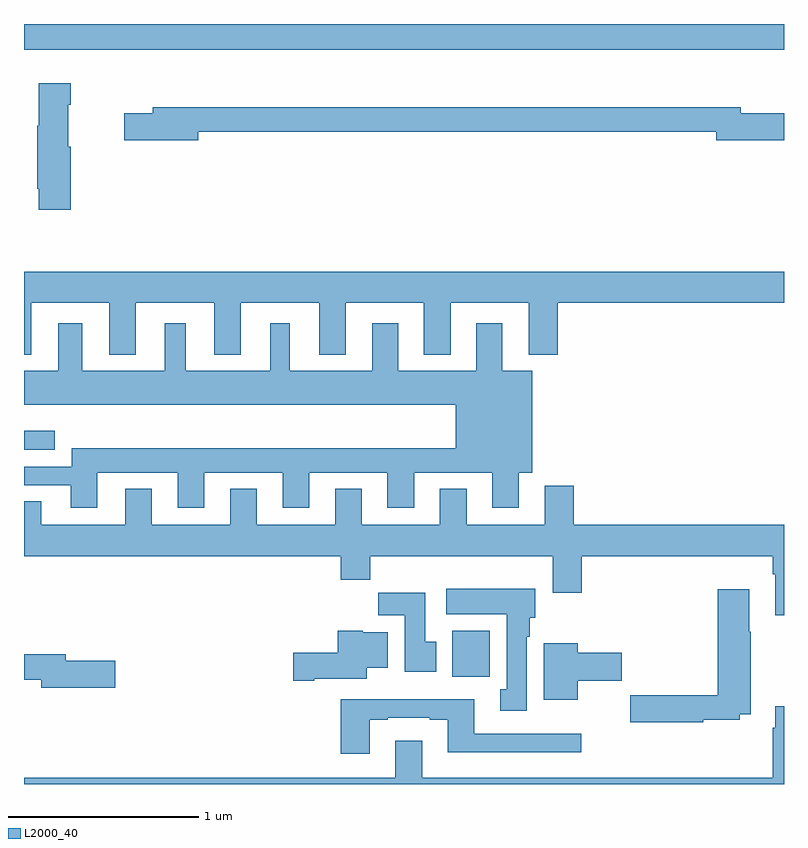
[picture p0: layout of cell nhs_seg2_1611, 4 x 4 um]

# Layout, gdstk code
import gdstk
lib = gdstk.Library(unit=1e-6, precision=1e-09)
def R(c, l, rs):  # rectangles x0, y0, x1, y1
    for r in rs: c.add(gdstk.rectangle(r[:2], r[2:], *l))
def P(c, l, *ps):  # polygons
    for p in ps: c.add(gdstk.Polygon(p, *l))
L2000_40 = (2000, 40)

nhs_seg2_1611 = lib.new_cell('nhs_seg2_1611')
R(nhs_seg2_1611, L2000_40, [(197.255,616.364,197.452,616.606), (195,617.558,195.163,617.659), (195,619.664,199,619.8)])
P(nhs_seg2_1611, L2000_40, [(195.245,619.155),(195.232,619.155),(195.232,619.376),(195.245,619.376),(195.245,619.489),(195.077,619.489),(195.077,619.265),(195.07,619.265),(195.07,618.934),(195.077,618.934),(195.077,618.822),(195.245,618.822)],
  [(195.916,619.234),(198.644,619.234),(198.644,619.187),(199,619.187),(199,619.329),(198.772,619.329),(198.772,619.363),(195.677,619.363),(195.677,619.329),(195.528,619.329),(195.528,619.187),(195.916,619.187)],
  [(195.037,618.332),(195.449,618.332),(195.449,618.059),(195.589,618.059),(195.589,618.332),(196.001,618.332),(196.001,618.059),(196.141,618.059),(196.141,618.332),(196.553,618.332),(196.553,618.059),(196.693,618.059),(196.693,618.332),(197.105,618.332),(197.105,618.059),(197.245,618.059),(197.245,618.332),(197.657,618.332),(197.657,618.059),(197.81,618.059),(197.81,618.332),(199,618.332),(199,618.496),(195,618.496),(195,618.059),(195.037,618.059)],
  [(195.385,617.438),(195.809,617.438),(195.809,617.253),(195.949,617.253),(195.949,617.438),(196.361,617.438),(196.361,617.253),(196.501,617.253),(196.501,617.438),(196.913,617.438),(196.913,617.253),(197.053,617.253),(197.053,617.438),(197.465,617.438),(197.465,617.253),(197.605,617.253),(197.605,617.438),(197.674,617.438),(197.674,617.974),(197.518,617.974),(197.518,618.226),(197.381,618.226),(197.381,617.974),(196.969,617.974),(196.969,618.226),(196.832,618.226),(196.832,617.974),(196.399,617.974),(196.399,618.226),(196.295,618.226),(196.295,617.974),(195.85,617.974),(195.85,618.226),(195.74,618.226),(195.74,617.974),(195.307,617.974),(195.307,618.226),(195.179,618.226),(195.179,617.974),(195,617.974),(195,617.795),(197.273,617.795),(197.273,617.566),(195.251,617.566),(195.251,617.469),(195,617.469),(195,617.373),(195.245,617.373),(195.245,617.253),(195.385,617.253)],
  [(199,617.164),(197.894,617.164),(197.894,617.371),(197.741,617.371),(197.741,617.164),(197.329,617.164),(197.329,617.353),(197.189,617.353),(197.189,617.164),(196.777,617.164),(196.777,617.353),(196.637,617.353),(196.637,617.164),(196.225,617.164),(196.225,617.353),(196.085,617.353),(196.085,617.164),(195.673,617.164),(195.673,617.353),(195.533,617.353),(195.533,617.164),(195.091,617.164),(195.091,617.288),(195,617.288),(195,617),(196.667,617),(196.667,616.876),(196.823,616.876),(196.823,617),(197.783,617),(197.783,616.806),(197.936,616.806),(197.936,617),(198.941,617),(198.941,616.904),(198.953,616.904),(198.953,616.689),(199,616.689)],
  [(197.647,616.574),(197.662,616.574),(197.662,616.674),(197.692,616.674),(197.692,616.828),(197.223,616.828),(197.223,616.694),(197.54,616.694),(197.54,616.298),(197.507,616.298),(197.507,616.185),(197.647,616.185)],
  [(198.576,616.138),(198.768,616.138),(198.768,616.166),(198.825,616.166),(198.825,616.601),(198.817,616.601),(198.817,616.825),(198.65,616.825),(198.65,616.268),(198.192,616.268),(198.192,616.126),(198.576,616.126)],
  [(197.17,616.548),(197.113,616.548),(197.113,616.807),(196.864,616.807),(196.864,616.688),(197.003,616.688),(197.003,616.392),(197.17,616.392)],
  [(196.528,616.355),(196.804,616.355),(196.804,616.412),(196.915,616.412),(196.915,616.6),(196.782,616.6),(196.782,616.606),(196.652,616.606),(196.652,616.49),(196.416,616.49),(196.416,616.343),(196.528,616.343)],
  [(197.914,616.343),(198.145,616.343),(198.145,616.49),(197.914,616.49),(197.914,616.54),(197.735,616.54),(197.735,616.244),(197.914,616.244)],
  [(195.481,616.448),(195.22,616.448),(195.22,616.484),(195,616.484),(195,616.348),(195.092,616.348),(195.092,616.306),(195.481,616.306)],
  [(196.819,616.137),(196.915,616.137),(196.915,616.149),(197.135,616.149),(197.135,616.137),(197.231,616.137),(197.231,615.968),(197.932,615.968),(197.932,616.065),(197.371,616.065),(197.371,616.246),(196.667,616.246),(196.667,615.96),(196.819,615.96)],
  [(199,616.21),(198.953,616.21),(198.953,616.097),(198.941,616.097),(198.941,615.832),(197.095,615.832),(197.095,616.027),(196.955,616.027),(196.955,615.832),(195,615.832),(195,615.8),(199,615.8)])

lib.write_gds('nhs_seg2_1611.gds')
